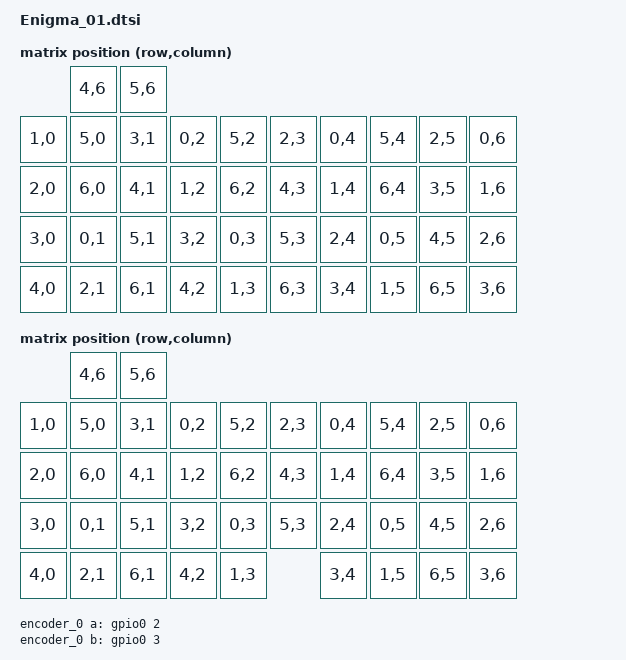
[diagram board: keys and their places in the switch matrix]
#include <dt-bindings/zmk/matrix_transform.h>
#include "Enigma_01_layout.dtsi"

/ {
    chosen {
        zmk,kscan = &kscan_0;
        zmk,studio-rpc = &studio_usb;
    };

    transform_a: transform_a {
        compatible = "zmk,matrix-transform";
        rows = <7>;
        columns = <7>;
        map = <
                    RC(4,6) RC(5,6)
            RC(1,0) RC(5,0) RC(3,1) RC(0,2) RC(5,2) RC(2,3) RC(0,4) RC(5,4) RC(2,5) RC(0,6)
            RC(2,0) RC(6,0) RC(4,1) RC(1,2) RC(6,2) RC(4,3) RC(1,4) RC(6,4) RC(3,5) RC(1,6)
            RC(3,0) RC(0,1) RC(5,1) RC(3,2) RC(0,3) RC(5,3) RC(2,4) RC(0,5) RC(4,5) RC(2,6)
            RC(4,0) RC(2,1) RC(6,1) RC(4,2) RC(1,3) RC(6,3) RC(3,4) RC(1,5) RC(6,5) RC(3,6)
        >;
    };

    transform_bc: transform_bc {
        compatible = "zmk,matrix-transform";
        rows = <7>;
        columns = <7>;
        map = <
                    RC(4,6) RC(5,6)
            RC(1,0) RC(5,0) RC(3,1) RC(0,2) RC(5,2) RC(2,3) RC(0,4) RC(5,4) RC(2,5) RC(0,6)
            RC(2,0) RC(6,0) RC(4,1) RC(1,2) RC(6,2) RC(4,3) RC(1,4) RC(6,4) RC(3,5) RC(1,6)
            RC(3,0) RC(0,1) RC(5,1) RC(3,2) RC(0,3) RC(5,3) RC(2,4) RC(0,5) RC(4,5) RC(2,6)
            RC(4,0) RC(2,1) RC(6,1) RC(4,2) RC(1,3)         RC(3,4) RC(1,5) RC(6,5) RC(3,6)
        >;
    };

    kscan_0: kscan_0 {
        compatible = "zmk,kscan-gpio-charlieplex";
        interrupt-gpios = <&gpio0 28 (GPIO_ACTIVE_HIGH | GPIO_PULL_DOWN)>;
                gpios = <&gpio0 29 GPIO_ACTIVE_HIGH>,
                <&gpio0 4 GPIO_ACTIVE_HIGH>,
                <&gpio0 5 GPIO_ACTIVE_HIGH>,
                <&gpio1 11 GPIO_ACTIVE_HIGH>,
                <&gpio1 14 GPIO_ACTIVE_HIGH>,
                <&gpio1 13 GPIO_ACTIVE_HIGH>,
                <&gpio1 12 GPIO_ACTIVE_HIGH>;
    };

    encoder_0: encoder_0 {
        compatible = "alps,ec11";
        a-gpios = <&gpio0 2 (GPIO_ACTIVE_HIGH | GPIO_PULL_UP)>;
        b-gpios = <&gpio0 3 (GPIO_ACTIVE_HIGH | GPIO_PULL_UP)>;
        steps = <24>;
        status = "disabled";
    };

    sensors_0: sensors_0 {
        compatible = "zmk,keymap-sensors";
        sensors = <&encoder_0>;
        triggers-per-rotation = <10>;
    };

    studio_usb: studio_usb {
        compatible = "zmk,studio-rpc-usb-uart";
    };
};
